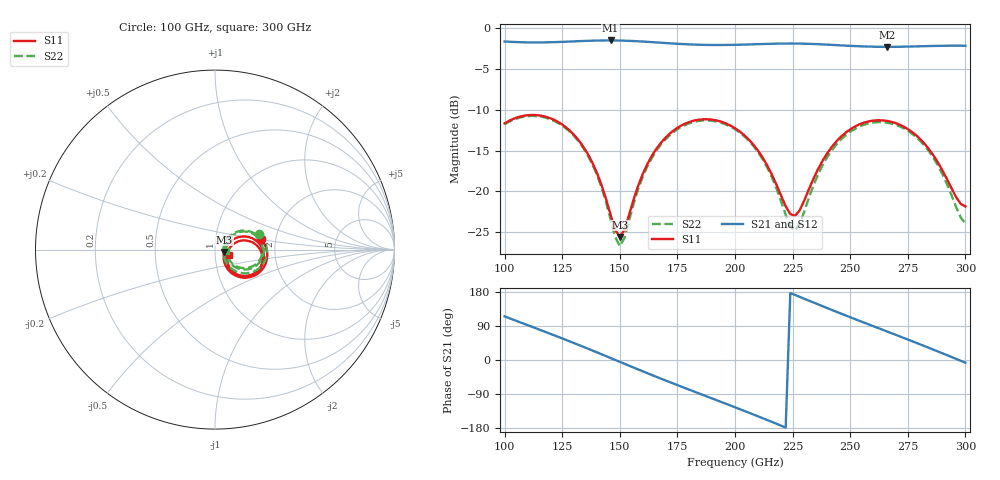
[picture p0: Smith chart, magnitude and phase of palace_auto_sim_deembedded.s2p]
! Created with skrf 1.11.0 (http://scikit-rf.org).
# GHz S DB R 50.0
!freq dBS11 angS11 dBS21 angS21 dBS12 angS12 dBS22 angS22
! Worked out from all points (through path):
!   101 points, 100 GHz to 300 GHz, reference 50 ohm
!   highest |S21| = -1.49 dB at 146 GHz (marker M1); lowest = -2.3 dB at 266 GHz (marker M2)
!   group delay of S21, straight-line fit = 6.71 ps
!   lowest |S11| = -25.6 dB at 150 GHz (marker M3), VSWR 1.11, Z = 55.4 - j1.39 ohm
!   |S11| at or under -10 dB: start of sweep to end of sweep
!   |S22| runs from -26.7 to -10.7 dB; largest |S21 - S12| = 9.2e-14
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100  -11.67 13.1  -1.61 115.1  -1.61 115.1  -11.78 19.6
108  -10.75 -2.4  -1.71 96.6  -1.71 96.6  -10.86 4.5
118  -10.86 -22.0  -1.72 73.4  -1.72 73.4  -10.98 -14.7
134  -14.46 -51.0  -1.55 35.2  -1.55 35.2  -14.62 -43.5
140  -17.69 -57.0  -1.50 20.3  -1.50 20.3  -17.91 -49.9
146  -22.89 -47.5  -1.49 5.2  -1.49 5.2  -23.45 -41.5
150  -25.60 -13.8  -1.50 -4.9  -1.50 -4.9  -26.74 -4.8
160  -17.85 29.2  -1.62 -29.9  -1.62 -29.9  -18.19 42.0
168  -14.00 20.6  -1.77 -49.5  -1.77 -49.5  -14.21 33.0
184  -11.23 -7.4  -2.01 -87.3  -2.01 -87.3  -11.38 5.0
200  -12.26 -35.5  -2.02 -124.8  -2.02 -124.8  -12.38 -23.4
214  -16.84 -51.8  -1.91 -158.4  -1.91 -158.4  -17.09 -41.7
222  -21.84 -38.1  -1.86 -178.2  -1.86 -178.2  -22.90 -30.0
226  -23.03 -12.6  -1.87 171.8  -1.87 171.8  -24.83 0.5
234  -18.50 18.6  -1.92 151.8  -1.92 151.8  -19.32 38.3
242  -14.56 15.5  -2.03 132.2  -2.03 132.2  -14.98 34.2
250  -12.40 4.0  -2.15 112.9  -2.15 112.9  -12.70 22.0
266  -11.36 -23.6  -2.27 75.3  -2.27 75.3  -11.58 -6.4
268  -11.48 -27.0  -2.27 70.6  -2.27 70.6  -11.70 -9.9
276  -12.55 -40.0  -2.23 51.7  -2.23 51.7  -12.76 -23.6
286  -15.54 -51.6  -2.16 27.6  -2.16 27.6  -15.84 -37.0
300  -21.87 -19.9  -2.14 -7.0  -2.14 -7.0  -23.94 -4.7
